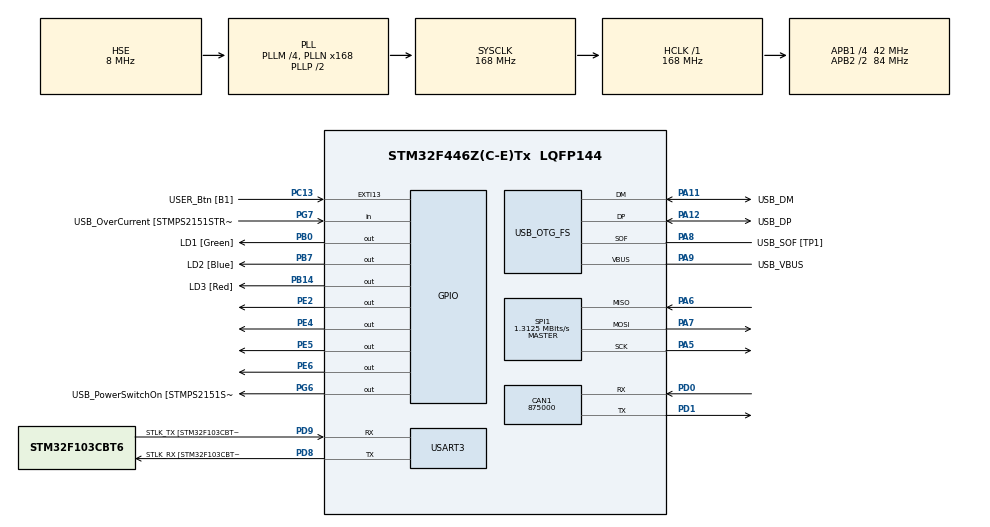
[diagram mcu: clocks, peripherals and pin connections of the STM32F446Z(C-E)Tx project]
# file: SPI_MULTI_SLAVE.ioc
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CAN1.CalculateBaudRate=875000
CAN1.CalculateTimeBit=1142
CAN1.CalculateTimeQuantum=380.95238095238096
Dma.Request0=SPI1_RX
Dma.Request1=SPI1_TX
Dma.SPI1_RX.0.Direction=DMA_PERIPH_TO_MEMORY
Dma.SPI1_RX.0.FIFOMode=DMA_FIFOMODE_DISABLE
Dma.SPI1_RX.0.Instance=DMA2_Stream0
Dma.SPI1_RX.0.MemDataAlignment=DMA_MDATAALIGN_BYTE
Dma.SPI1_RX.0.MemInc=DMA_MINC_ENABLE
Dma.SPI1_RX.0.Mode=DMA_NORMAL
Dma.SPI1_RX.0.PeriphDataAlignment=DMA_PDATAALIGN_BYTE
Dma.SPI1_RX.0.PeriphInc=DMA_PINC_DISABLE
Dma.SPI1_RX.0.Priority=DMA_PRIORITY_LOW
Dma.SPI1_TX.1.Direction=DMA_MEMORY_TO_PERIPH
Dma.SPI1_TX.1.FIFOMode=DMA_FIFOMODE_DISABLE
Dma.SPI1_TX.1.Instance=DMA2_Stream3
Dma.SPI1_TX.1.MemDataAlignment=DMA_MDATAALIGN_BYTE
Dma.SPI1_TX.1.MemInc=DMA_MINC_ENABLE
Dma.SPI1_TX.1.Mode=DMA_NORMAL
Dma.SPI1_TX.1.PeriphDataAlignment=DMA_PDATAALIGN_BYTE
Dma.SPI1_TX.1.PeriphInc=DMA_PINC_DISABLE
Dma.SPI1_TX.1.Priority=DMA_PRIORITY_LOW
Mcu.Family=STM32F4
Mcu.Name=STM32F446Z(C-E)Tx
Mcu.Package=LQFP144
NVIC.DMA2_Stream0_IRQn=true\:0\:0\:false\:false\:true\:false\:true\:true
NVIC.DMA2_Stream3_IRQn=true\:0\:0\:false\:false\:true\:false\:true\:true
NVIC.EXTI15_10_IRQn=true\:0\:0\:false\:false\:true\:true\:true\:true
NVIC.PriorityGroup=NVIC_PRIORITYGROUP_4
PA10.GPIO_Label=USB_ID
PA10.Signal=USB_OTG_FS_ID
PA11.GPIO_Label=USB_DM
PA11.Mode=Device_Only
PA11.Signal=USB_OTG_FS_DM
PA12.GPIO_Label=USB_DP
PA12.Mode=Device_Only
PA12.Signal=USB_OTG_FS_DP
PA13.GPIO_Label=TMS
PA13.Mode=Serial_Wire
PA13.Signal=SYS_JTMS-SWDIO
PA14.GPIO_Label=TCK
PA14.Mode=Serial_Wire
PA14.Signal=SYS_JTCK-SWCLK
PA5.Mode=Full_Duplex_Master
PA5.Signal=SPI1_SCK
PA6.Mode=Full_Duplex_Master
PA6.Signal=SPI1_MISO
PA7.Mode=Full_Duplex_Master
PA7.Signal=SPI1_MOSI
PA8.GPIO_Label=USB_SOF [TP1]
PA8.Mode=Activate_SOF_FS
PA8.Signal=USB_OTG_FS_SOF
PA9.GPIO_Label=USB_VBUS
PA9.Mode=Activate_VBUS
PA9.Signal=USB_OTG_FS_VBUS
PB0.GPIO_Label=LD1 [Green]
PB0.Signal=GPIO_Output
PB14.GPIO_Label=LD3 [Red]
PB14.Signal=GPIO_Output
PB7.GPIO_Label=LD2 [Blue]
PB7.Signal=GPIO_Output
PC13.GPIO_Label=USER_Btn [B1]
PC13.Signal=GPXTI13
PC14-OSC32_IN.Mode=LSE-External-Oscillator
PC14-OSC32_IN.Signal=RCC_OSC32_IN
PC15-OSC32_OUT.Mode=LSE-External-Oscillator
PC15-OSC32_OUT.Signal=RCC_OSC32_OUT
PD0.Mode=CAN_Activate
PD0.Signal=CAN1_RX
PD1.Mode=CAN_Activate
PD1.Signal=CAN1_TX
PD8.GPIO_Label=STLK_RX [STM32F103CBT6_PA3]
PD8.Mode=Asynchronous
PD8.Signal=USART3_TX
PD9.GPIO_Label=STLK_TX [STM32F103CBT6_PA2]
PD9.Mode=Asynchronous
PD9.Signal=USART3_RX
PE2.Signal=GPIO_Output
PE4.Signal=GPIO_Output
PE5.Signal=GPIO_Output
PE6.Signal=GPIO_Output
PG6.GPIO_Label=USB_PowerSwitchOn [STMPS2151STR_EN]
PG6.Signal=GPIO_Output
PG7.GPIO_Label=USB_OverCurrent [STMPS2151STR_FAULT]
PG7.Signal=GPIO_Input
PH0-OSC_IN.GPIO_Label=MCO [STM32F103CBT6_PA8]
PH0-OSC_IN.Mode=HSE-External-Clock-Source
PH0-OSC_IN.Signal=RCC_OSC_IN
PH1-OSC_OUT.Mode=HSE-External-Clock-Source
PH1-OSC_OUT.Signal=RCC_OSC_OUT
ProjectManager.HeapSize=0x200
ProjectManager.StackSize=0x400
ProjectManager.TargetToolchain=STM32CubeIDE
RCC.48MHZClocksFreq_Value=24000000
RCC.AHBFreq_Value=168000000
RCC.APB1CLKDivider=RCC_HCLK_DIV4
RCC.APB1Freq_Value=42000000
RCC.APB1TimFreq_Value=84000000
RCC.APB2CLKDivider=RCC_HCLK_DIV2
RCC.APB2Freq_Value=84000000
RCC.APB2TimFreq_Value=168000000
RCC.CortexFreq_Value=168000000
RCC.HCLKFreq_Value=168000000
RCC.HSE_VALUE=8000000
RCC.HSI_VALUE=16000000
RCC.PLLM=4
RCC.PLLMUL=RCC_PLL_MUL9
RCC.PLLN=168
RCC.PLLQ=7
RCC.PRESCALERUSB=RCC_USBCLKSOURCE_PLL_DIV1_5
RCC.SYSCLKFreq_VALUE=168000000
RCC.SYSCLKSource=RCC_SYSCLKSOURCE_PLLCLK
RCC.SYSCLKSourceVirtual=RCC_SYSCLKSOURCE_PLLCLK
RCC.USBFreq_Value=48000000
RCC.VCOOutputFreq_Value=336000000
SPI1.BaudRatePrescaler=SPI_BAUDRATEPRESCALER_64
SPI1.CalculateBaudRate=1.3125 MBits/s
SPI1.Direction=SPI_DIRECTION_2LINES
SPI1.Mode=SPI_MODE_MASTER
SPI1.VirtualType=VM_MASTER
USART3.VirtualMode=VM_ASYNC
USB_OTG_FS.VirtualMode=Device_Only
board=NUCLEO-F446ZE

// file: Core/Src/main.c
/* USER CODE BEGIN Header */
/**
  ******************************************************************************
  * @file           : main.c
  * @brief          : Main program body
  ******************************************************************************
  * @attention
  *
  * Copyright (c) 2025 STMicroelectronics.
  * All rights reserved.
  *
  * This software is licensed under terms that can be found in the LICENSE file
  * in the root directory of this software component.
  * If no LICENSE file comes with this software, it is provided AS-IS.
  *
  ******************************************************************************
  */
/* USER CODE END Header */
#include "main.h"

/* USER CODE BEGIN Includes */
#include "robostride_test.h"
#include "stdio.h"

/* USER CODE END Includes */

/* USER CODE BEGIN PTD */
volatile uint8_t button_pressed = 0;
/* USER CODE END PTD */

/* USER CODE BEGIN PD */

// SPI1 片选引脚：PE2 / PE4 / PE5 / PE6
#define SPI_CS_GPIO_PORT   GPIOE
#define SPI_CS1_PIN        GPIO_PIN_2   // Slave 1
#define SPI_CS2_PIN        GPIO_PIN_4   // Slave 2
#define SPI_CS3_PIN        GPIO_PIN_5   // Slave 3
#define SPI_CS4_PIN        GPIO_PIN_6   // Slave 4
#define PAYLOAD_SIZE 8
uint8_t master_tx[PAYLOAD_SIZE];
uint8_t master_rx[PAYLOAD_SIZE];
volatile uint8_t complete_flag = 0;

typedef enum
{
    SPI_SLAVE_1 = 0,
    SPI_SLAVE_2,
    SPI_SLAVE_3,
    SPI_SLAVE_4
} spi_slave_t;

uint8_t txBuf[8] = {'A', 'B', 'C', 'D', 'E', 'F', 'G', 'H'};
uint8_t rxBuf[8] = {0};

motor_t motor1;

/* USER CODE END PD */

CAN_HandleTypeDef hcan1;

SPI_HandleTypeDef hspi1;
DMA_HandleTypeDef hdma_spi1_rx;
DMA_HandleTypeDef hdma_spi1_tx;

UART_HandleTypeDef huart3;

PCD_HandleTypeDef hpcd_USB_OTG_FS;

/* USER CODE BEGIN PV */

volatile uint8_t spi_busy        = 0;  // 1 = 正在进行 DMA 传输
volatile uint8_t spi_tx_done     = 0;  // 仅 TX 完成标志
volatile uint8_t spi_txrx_done   = 0;  // TX+RX 完成标志
spi_slave_t      spi_current_slave;    // 当前选中的从机

/* USER CODE END PV */

void SystemClock_Config(void);
static void MX_GPIO_Init(void);
static void MX_DMA_Init(void);
static void MX_USART3_UART_Init(void);
static void MX_USB_OTG_FS_PCD_Init(void);
static void MX_SPI1_Init(void);
static void MX_CAN1_Init(void);

/* USER CODE BEGIN 0 */
int __io_putchar(int ch) {
    HAL_UART_Transmit(&huart3, (uint8_t *)&ch, 1, HAL_MAX_DELAY);
    return ch;
}

int _write(int file, char *ptr, int len) {
    HAL_UART_Transmit(&huart3, (uint8_t *)ptr, len, HAL_MAX_DELAY);
    return len;
}

static void SPI_Deselect_All(void)
{
    HAL_GPIO_WritePin(SPI_CS_GPIO_PORT,
                      SPI_CS1_PIN | SPI_CS2_PIN | SPI_CS3_PIN | SPI_CS4_PIN,
                      GPIO_PIN_SET);
}

static void SPI_Select_Slave(spi_slave_t slave)
{
    SPI_Deselect_All();

    switch (slave)
    {
    case SPI_SLAVE_1:
        HAL_GPIO_WritePin(SPI_CS_GPIO_PORT, SPI_CS1_PIN, GPIO_PIN_RESET);
        break;
    case SPI_SLAVE_2:
        HAL_GPIO_WritePin(SPI_CS_GPIO_PORT, SPI_CS2_PIN, GPIO_PIN_RESET);
        break;
    case SPI_SLAVE_3:
        HAL_GPIO_WritePin(SPI_CS_GPIO_PORT, SPI_CS3_PIN, GPIO_PIN_RESET);
        break;
    case SPI_SLAVE_4:
        HAL_GPIO_WritePin(SPI_CS_GPIO_PORT, SPI_CS4_PIN, GPIO_PIN_RESET);
        break;
    default:
        break;
    }
}

HAL_StatusTypeDef SPI_Transfer_To_DMA(spi_slave_t slave,
                                      uint8_t *pTxData,
                                      uint8_t *pRxData,
                                      uint16_t Size)
{
    if (spi_busy)
        return HAL_BUSY;

    spi_busy        = 1;
    spi_tx_done     = 0;
    spi_txrx_done   = 0;
    spi_current_slave = slave;

    txBuf[7] ++;

    SPI_Select_Slave(slave);

    HAL_StatusTypeDef status =
        HAL_SPI_TransmitReceive_DMA(&hspi1, pTxData, pRxData, Size);

    if (status != HAL_OK)
    {
        SPI_Deselect_All();
        spi_busy = 0;
    }

    return status;
}

void HAL_SPI_TxRxCpltCallback(SPI_HandleTypeDef *hspi)
{
    if (hspi->Instance == SPI1)
    {
        SPI_Deselect_All();
        spi_busy      = 0;
        spi_txrx_done = 1;

        // 先关掉所有灯
        HAL_GPIO_WritePin(GPIOB, LD1_Pin | LD2_Pin | LD3_Pin, GPIO_PIN_RESET);

        // 用当前从机编号来点灯，先不管 rxBuf 收到了什么
        if (spi_current_slave == SPI_SLAVE_1)
        {
            // 从机1 → 绿灯
            HAL_GPIO_WritePin(GPIOB, LD1_Pin, GPIO_PIN_SET);
        }
        else if (spi_current_slave == SPI_SLAVE_2)
        {
            // 从机2 → 蓝灯
            HAL_GPIO_WritePin(GPIOB, LD2_Pin, GPIO_PIN_SET);
        }
        else
        {
            // 其他（理论上现在不会发生）→ 红灯
            HAL_GPIO_WritePin(GPIOB, LD3_Pin, GPIO_PIN_SET);
        }
    }

}

/* USER CODE BEGIN 4 */
/* USER CODE END 4 */

// 错误处理（比如溢出、仲裁丢失等）
void HAL_SPI_ErrorCallback(SPI_HandleTypeDef *hspi)
{
    if (hspi->Instance == SPI1)
    {
        SPI_Deselect_All();
        spi_busy      = 0;
        spi_tx_done   = 0;
        spi_txrx_done = 0;
    }
}

/* USER CODE END 0 */

int main(void)
{

  /* MCU Configuration--------------------------------------------------------*/

  /* Reset of all peripherals, Initializes the Flash interface and the Systick. */
  HAL_Init();

  /* Configure the system clock */
  SystemClock_Config();

  /* Initialize all configured peripherals */
  MX_GPIO_Init();
  MX_DMA_Init();
  MX_USART3_UART_Init();
  MX_USB_OTG_FS_PCD_Init();
  MX_SPI1_Init();
  MX_CAN1_Init();
  /* USER CODE BEGIN 2 */

  SPI_Deselect_All();
  spi_slave_t current_slave = SPI_SLAVE_1;   // 从机轮询用
  //uint8_t     value_index   = 0;

  /* USER CODE END 2 */

  /* Infinite loop */
  while (1)
  {

    /* USER CODE BEGIN 3 */

    if (!spi_busy && button_pressed == 1)
          {
    //        SPI_Transfer_To_DMA(current_slave, &txBuf[value_index], &rxBuf, 1) == HAL_OK;
      button_pressed = 0;
              // ====== 发起 DMA ======
              if (SPI_Transfer_To_DMA(current_slave, txBuf, rxBuf, 8) == HAL_OK)
              {
                  while (!spi_txrx_done) {}

                  spi_txrx_done = 0;
                  for(int i = 0; i < 8; i++){
                    printf("Received: %x\n", rxBuf[i]);
                  }
                  printf("Finished------\n");

//                  can_unpack_motor_feedback(&motor1, rxBuf);
//                  printf("Motor: %d Pos: %.4f Spd: %.4f Torq: %.4f Temp: %.4f\r\n",
//                                  motor1.id, motor1.pos, motor1.rpm, motor1.torq, motor1.temperature);

                  // ====== 切换 Slave ======
//                  switch (current_slave)
//                  {
//                  case SPI_SLAVE_1:
//                      current_slave = SPI_SLAVE_2;
//                      break;
//                  case SPI_SLAVE_2:
//                      current_slave = SPI_SLAVE_3;
//                      break;
//                  case SPI_SLAVE_3:
//                      current_slave = SPI_SLAVE_4;
//                      break;
//                  case SPI_SLAVE_4:
//                      current_slave = SPI_SLAVE_1;
//                      value_index ^= 1;
//                      break;
//
//                  }

              }

              HAL_Delay(1000);
          }

  }
  /* USER CODE END 3 */
}

void SystemClock_Config(void)
{
  RCC_OscInitTypeDef RCC_OscInitStruct = {0};
  RCC_ClkInitTypeDef RCC_ClkInitStruct = {0};

  /** Configure the main internal regulator output voltage
  */
  __HAL_RCC_PWR_CLK_ENABLE();
  __HAL_PWR_VOLTAGESCALING_CONFIG(PWR_REGULATOR_VOLTAGE_SCALE1);

  /** Initializes the RCC Oscillators according to the specified parameters
  * in the RCC_OscInitTypeDef structure.
  */
  RCC_OscInitStruct.OscillatorType = RCC_OSCILLATORTYPE_HSE;
  RCC_OscInitStruct.HSEState = RCC_HSE_BYPASS;
  RCC_OscInitStruct.PLL.PLLState = RCC_PLL_ON;
  RCC_OscInitStruct.PLL.PLLSource = RCC_PLLSOURCE_HSE;
  RCC_OscInitStruct.PLL.PLLM = 4;
  RCC_OscInitStruct.PLL.PLLN = 168;
  RCC_OscInitStruct.PLL.PLLP = RCC_PLLP_DIV2;
  RCC_OscInitStruct.PLL.PLLQ = 7;
  RCC_OscInitStruct.PLL.PLLR = 2;
  if (HAL_RCC_OscConfig(&RCC_OscInitStruct) != HAL_OK)
  {
    Error_Handler();
  }

  /** Initializes the CPU, AHB and APB buses clocks
  */
  RCC_ClkInitStruct.ClockType = RCC_CLOCKTYPE_HCLK|RCC_CLOCKTYPE_SYSCLK
                              |RCC_CLOCKTYPE_PCLK1|RCC_CLOCKTYPE_PCLK2;
  RCC_ClkInitStruct.SYSCLKSource = RCC_SYSCLKSOURCE_PLLCLK;
  RCC_ClkInitStruct.AHBCLKDivider = RCC_SYSCLK_DIV1;
  RCC_ClkInitStruct.APB1CLKDivider = RCC_HCLK_DIV4;
  RCC_ClkInitStruct.APB2CLKDivider = RCC_HCLK_DIV2;

  if (HAL_RCC_ClockConfig(&RCC_ClkInitStruct, FLASH_LATENCY_5) != HAL_OK)
  {
    Error_Handler();
  }
}

static void MX_CAN1_Init(void)
{

  hcan1.Instance = CAN1;
  hcan1.Init.Prescaler = 16;
  hcan1.Init.Mode = CAN_MODE_NORMAL;
  hcan1.Init.SyncJumpWidth = CAN_SJW_1TQ;
  hcan1.Init.TimeSeg1 = CAN_BS1_1TQ;
  hcan1.Init.TimeSeg2 = CAN_BS2_1TQ;
  hcan1.Init.TimeTriggeredMode = DISABLE;
  hcan1.Init.AutoBusOff = DISABLE;
  hcan1.Init.AutoWakeUp = DISABLE;
  hcan1.Init.AutoRetransmission = DISABLE;
  hcan1.Init.ReceiveFifoLocked = DISABLE;
  hcan1.Init.TransmitFifoPriority = DISABLE;
  if (HAL_CAN_Init(&hcan1) != HAL_OK)
  {
    Error_Handler();
  }

}

static void MX_SPI1_Init(void)
{

  /* SPI1 parameter configuration*/
  hspi1.Instance = SPI1;
  hspi1.Init.Mode = SPI_MODE_MASTER;
  hspi1.Init.Direction = SPI_DIRECTION_2LINES;
  hspi1.Init.DataSize = SPI_DATASIZE_8BIT;
  hspi1.Init.CLKPolarity = SPI_POLARITY_LOW;
  hspi1.Init.CLKPhase = SPI_PHASE_1EDGE;
  hspi1.Init.NSS = SPI_NSS_SOFT;
  hspi1.Init.BaudRatePrescaler = SPI_BAUDRATEPRESCALER_64;
  hspi1.Init.FirstBit = SPI_FIRSTBIT_MSB;
  hspi1.Init.TIMode = SPI_TIMODE_DISABLE;
  hspi1.Init.CRCCalculation = SPI_CRCCALCULATION_DISABLE;
  hspi1.Init.CRCPolynomial = 10;
  if (HAL_SPI_Init(&hspi1) != HAL_OK)
  {
    Error_Handler();
  }

}

static void MX_USART3_UART_Init(void)
{

  huart3.Instance = USART3;
  huart3.Init.BaudRate = 115200;
  huart3.Init.WordLength = UART_WORDLENGTH_8B;
  huart3.Init.StopBits = UART_STOPBITS_1;
  huart3.Init.Parity = UART_PARITY_NONE;
  huart3.Init.Mode = UART_MODE_TX_RX;
  huart3.Init.HwFlowCtl = UART_HWCONTROL_NONE;
  huart3.Init.OverSampling = UART_OVERSAMPLING_16;
  if (HAL_UART_Init(&huart3) != HAL_OK)
  {
    Error_Handler();
  }

}

static void MX_USB_OTG_FS_PCD_Init(void)
{

  hpcd_USB_OTG_FS.Instance = USB_OTG_FS;
  hpcd_USB_OTG_FS.Init.dev_endpoints = 6;
  hpcd_USB_OTG_FS.Init.speed = PCD_SPEED_FULL;
  hpcd_USB_OTG_FS.Init.dma_enable = DISABLE;
  hpcd_USB_OTG_FS.Init.phy_itface = PCD_PHY_EMBEDDED;
  hpcd_USB_OTG_FS.Init.Sof_enable = ENABLE;
  hpcd_USB_OTG_FS.Init.low_power_enable = DISABLE;
  hpcd_USB_OTG_FS.Init.lpm_enable = DISABLE;
  hpcd_USB_OTG_FS.Init.vbus_sensing_enable = ENABLE;
  hpcd_USB_OTG_FS.Init.use_dedicated_ep1 = DISABLE;
  if (HAL_PCD_Init(&hpcd_USB_OTG_FS) != HAL_OK)
  {
    Error_Handler();
  }

}

static void MX_DMA_Init(void)
{

  /* DMA controller clock enable */
  __HAL_RCC_DMA2_CLK_ENABLE();

  /* DMA interrupt init */
  /* DMA2_Stream0_IRQn interrupt configuration */
  HAL_NVIC_SetPriority(DMA2_Stream0_IRQn, 0, 0);
  HAL_NVIC_EnableIRQ(DMA2_Stream0_IRQn);
  /* DMA2_Stream3_IRQn interrupt configuration */
  HAL_NVIC_SetPriority(DMA2_Stream3_IRQn, 0, 0);
  HAL_NVIC_EnableIRQ(DMA2_Stream3_IRQn);

}

static void MX_GPIO_Init(void)
{
  GPIO_InitTypeDef GPIO_InitStruct = {0};

  /* GPIO Ports Clock Enable */
  __HAL_RCC_GPIOE_CLK_ENABLE();
  __HAL_RCC_GPIOC_CLK_ENABLE();
  __HAL_RCC_GPIOH_CLK_ENABLE();
  __HAL_RCC_GPIOA_CLK_ENABLE();
  __HAL_RCC_GPIOB_CLK_ENABLE();
  __HAL_RCC_GPIOD_CLK_ENABLE();
  __HAL_RCC_GPIOG_CLK_ENABLE();

  /*Configure GPIO pin Output Level */
  HAL_GPIO_WritePin(GPIOE, GPIO_PIN_2|GPIO_PIN_4|GPIO_PIN_5|GPIO_PIN_6, GPIO_PIN_RESET);

  /*Configure GPIO pin Output Level */
  HAL_GPIO_WritePin(GPIOB, LD1_Pin|LD3_Pin|LD2_Pin, GPIO_PIN_RESET);

  /*Configure GPIO pin Output Level */
  HAL_GPIO_WritePin(USB_PowerSwitchOn_GPIO_Port, USB_PowerSwitchOn_Pin, GPIO_PIN_RESET);

  /*Configure GPIO pins : PE2 PE4 PE5 PE6 */
  GPIO_InitStruct.Pin = GPIO_PIN_2|GPIO_PIN_4|GPIO_PIN_5|GPIO_PIN_6;
  GPIO_InitStruct.Mode = GPIO_MODE_OUTPUT_PP;
  GPIO_InitStruct.Pull = GPIO_NOPULL;
  GPIO_InitStruct.Speed = GPIO_SPEED_FREQ_LOW;
  HAL_GPIO_Init(GPIOE, &GPIO_InitStruct);

  /*Configure GPIO pin : USER_Btn_Pin */
  GPIO_InitStruct.Pin = USER_Btn_Pin;
  GPIO_InitStruct.Mode = GPIO_MODE_IT_RISING;
  GPIO_InitStruct.Pull = GPIO_NOPULL;
  HAL_GPIO_Init(USER_Btn_GPIO_Port, &GPIO_InitStruct);

  /*Configure GPIO pins : LD1_Pin LD3_Pin LD2_Pin */
  GPIO_InitStruct.Pin = LD1_Pin|LD3_Pin|LD2_Pin;
  GPIO_InitStruct.Mode = GPIO_MODE_OUTPUT_PP;
  GPIO_InitStruct.Pull = GPIO_NOPULL;
  GPIO_InitStruct.Speed = GPIO_SPEED_FREQ_LOW;
  HAL_GPIO_Init(GPIOB, &GPIO_InitStruct);

  /*Configure GPIO pin : USB_PowerSwitchOn_Pin */
  GPIO_InitStruct.Pin = USB_PowerSwitchOn_Pin;
  GPIO_InitStruct.Mode = GPIO_MODE_OUTPUT_PP;
  GPIO_InitStruct.Pull = GPIO_NOPULL;
  GPIO_InitStruct.Speed = GPIO_SPEED_FREQ_LOW;
  HAL_GPIO_Init(USB_PowerSwitchOn_GPIO_Port, &GPIO_InitStruct);

  /*Configure GPIO pin : USB_OverCurrent_Pin */
  GPIO_InitStruct.Pin = USB_OverCurrent_Pin;
  GPIO_InitStruct.Mode = GPIO_MODE_INPUT;
  GPIO_InitStruct.Pull = GPIO_NOPULL;
  HAL_GPIO_Init(USB_OverCurrent_GPIO_Port, &GPIO_InitStruct);

  /* EXTI interrupt init*/
  HAL_NVIC_SetPriority(EXTI15_10_IRQn, 0, 0);
  HAL_NVIC_EnableIRQ(EXTI15_10_IRQn);

}

/* USER CODE BEGIN 4 */
void HAL_GPIO_EXTI_Callback(uint16_t GPIO_Pin)
{
    if(GPIO_Pin == USER_Btn_Pin) // Check if it was the blue button
    {
        button_pressed = 1;      // Set the flag to 1
    }
}
/* USER CODE END 4 */

void Error_Handler(void)
{
  __disable_irq();
  while (1)
  {
  }
}
